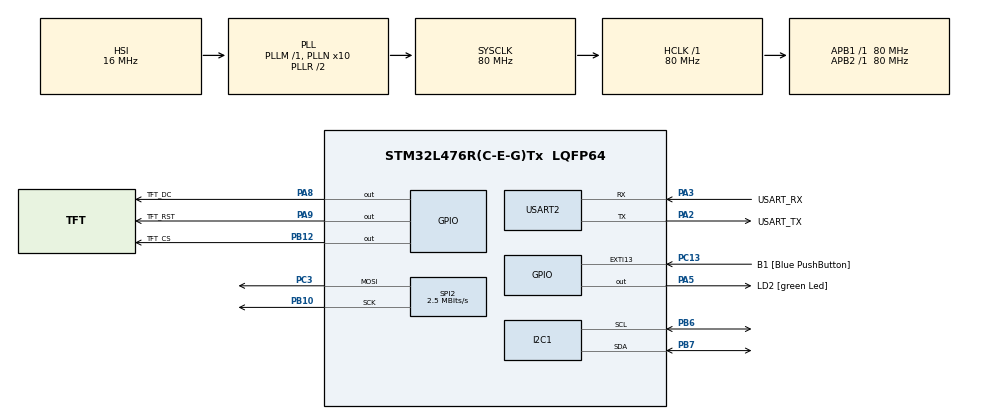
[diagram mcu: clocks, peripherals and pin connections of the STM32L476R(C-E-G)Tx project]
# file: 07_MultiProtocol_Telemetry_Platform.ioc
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Dma.Request0=USART2_RX
Dma.Request1=USART2_TX
Dma.USART2_RX.0.Direction=DMA_PERIPH_TO_MEMORY
Dma.USART2_RX.0.Instance=DMA1_Channel6
Dma.USART2_RX.0.MemDataAlignment=DMA_MDATAALIGN_BYTE
Dma.USART2_RX.0.MemInc=DMA_MINC_ENABLE
Dma.USART2_RX.0.Mode=DMA_NORMAL
Dma.USART2_RX.0.PeriphDataAlignment=DMA_PDATAALIGN_BYTE
Dma.USART2_RX.0.PeriphInc=DMA_PINC_DISABLE
Dma.USART2_RX.0.Priority=DMA_PRIORITY_LOW
Dma.USART2_TX.1.Direction=DMA_MEMORY_TO_PERIPH
Dma.USART2_TX.1.Instance=DMA1_Channel7
Dma.USART2_TX.1.MemDataAlignment=DMA_MDATAALIGN_BYTE
Dma.USART2_TX.1.MemInc=DMA_MINC_ENABLE
Dma.USART2_TX.1.Mode=DMA_NORMAL
Dma.USART2_TX.1.PeriphDataAlignment=DMA_PDATAALIGN_BYTE
Dma.USART2_TX.1.PeriphInc=DMA_PINC_DISABLE
Dma.USART2_TX.1.Priority=DMA_PRIORITY_LOW
I2C1.Timing=0x10D19CE4
Mcu.Family=STM32L4
Mcu.Name=STM32L476R(C-E-G)Tx
Mcu.Package=LQFP64
NVIC.DMA1_Channel6_IRQn=true\:0\:0\:false\:false\:true\:false\:true\:true
NVIC.DMA1_Channel7_IRQn=true\:0\:0\:false\:false\:true\:false\:true\:true
NVIC.PriorityGroup=NVIC_PRIORITYGROUP_4
NVIC.TIM6_DAC_IRQn=true\:0\:0\:false\:false\:true\:true\:true\:true
NVIC.USART2_IRQn=true\:0\:0\:false\:false\:true\:true\:true\:true
PA13\ (JTMS-SWDIO).GPIO_Label=TMS
PA13\ (JTMS-SWDIO).Mode=Serial_Wire
PA13\ (JTMS-SWDIO).Signal=SYS_JTMS-SWDIO
PA14\ (JTCK-SWCLK).GPIO_Label=TCK
PA14\ (JTCK-SWCLK).Mode=Serial_Wire
PA14\ (JTCK-SWCLK).Signal=SYS_JTCK-SWCLK
PA2.GPIO_Label=USART_TX
PA2.GPIO_Mode=GPIO_MODE_AF_PP
PA2.GPIO_PuPd=GPIO_NOPULL
PA2.GPIO_Speed=GPIO_SPEED_FREQ_VERY_HIGH
PA2.Mode=Asynchronous
PA2.Signal=USART2_TX
PA3.GPIO_Label=USART_RX
PA3.GPIO_Mode=GPIO_MODE_AF_PP
PA3.GPIO_PuPd=GPIO_NOPULL
PA3.GPIO_Speed=GPIO_SPEED_FREQ_VERY_HIGH
PA3.Mode=Asynchronous
PA3.Signal=USART2_RX
PA5.GPIO_Label=LD2 [green Led]
PA5.GPIO_ModeDefaultOutputPP=GPIO_MODE_OUTPUT_PP
PA5.GPIO_PuPd=GPIO_NOPULL
PA5.GPIO_Speed=GPIO_SPEED_FREQ_LOW
PA5.Signal=GPIO_Output
PA8.GPIO_Label=TFT_DC
PA8.GPIO_Speed=GPIO_SPEED_FREQ_VERY_HIGH
PA8.Signal=GPIO_Output
PA9.GPIO_Label=TFT_RST
PA9.GPIO_Speed=GPIO_SPEED_FREQ_VERY_HIGH
PA9.Signal=GPIO_Output
PB10.Mode=TX_Only_Simplex_Unidirect_Master
PB10.Signal=SPI2_SCK
PB12.GPIO_Label=TFT_CS
PB12.GPIO_Speed=GPIO_SPEED_FREQ_VERY_HIGH
PB12.Signal=GPIO_Output
PB3\ (JTDO-TRACESWO).GPIO_Label=SWO
PB3\ (JTDO-TRACESWO).Signal=SYS_JTDO-SWO
PB6.Mode=I2C
PB6.Signal=I2C1_SCL
PB7.Mode=I2C
PB7.Signal=I2C1_SDA
PC13.GPIO_Label=B1 [Blue PushButton]
PC13.GPIO_ModeDefaultEXTI=GPIO_MODE_IT_FALLING
PC13.GPIO_PuPd=GPIO_NOPULL
PC13.Signal=GPXTI13
PC14-OSC32_IN\ (PC14).Mode=LSE-External-Oscillator
PC14-OSC32_IN\ (PC14).Signal=RCC_OSC32_IN
PC15-OSC32_OUT\ (PC15).Mode=LSE-External-Oscillator
PC15-OSC32_OUT\ (PC15).Signal=RCC_OSC32_OUT
PC3.Mode=TX_Only_Simplex_Unidirect_Master
PC3.Signal=SPI2_MOSI
PH0-OSC_IN\ (PH0).Signal=RCC_OSC_IN
PH1-OSC_OUT\ (PH1).Signal=RCC_OSC_OUT
ProjectManager.HeapSize=0x200
ProjectManager.StackSize=0x400
ProjectManager.TargetToolchain=STM32CubeIDE
RCC.ADCFreq_Value=64000000
RCC.AHBFreq_Value=80000000
RCC.APB1Freq_Value=80000000
RCC.APB1TimFreq_Value=80000000
RCC.APB2Freq_Value=80000000
RCC.APB2TimFreq_Value=80000000
RCC.CortexFreq_Value=80000000
RCC.HCLKFreq_Value=80000000
RCC.HSE_VALUE=8000000
RCC.HSI_VALUE=16000000
RCC.MSI_VALUE=4000000
RCC.PLLN=10
RCC.PLLSourceVirtual=RCC_PLLSOURCE_HSI
RCC.PREFETCH_ENABLE=1
RCC.SYSCLKFreq_VALUE=80000000
RCC.SYSCLKSource=RCC_SYSCLKSOURCE_PLLCLK
RCC.USBFreq_Value=64000000
RCC.VCOOutputFreq_Value=160000000
SPI2.BaudRatePrescaler=SPI_BAUDRATEPRESCALER_32
SPI2.CalculateBaudRate=2.5 MBits/s
SPI2.Direction=SPI_DIRECTION_2LINES
SPI2.Mode=SPI_MODE_MASTER
SPI2.VirtualType=VM_MASTER
TIM6.Period=1000 - 1
TIM6.Prescaler=8000 - 1
USART2.VirtualMode-Asynchronous=VM_ASYNC
VP_TIM6_VS_ClockSourceINT.Mode=Enable_Timer
board=NUCLEO-L476RG

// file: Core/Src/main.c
/* USER CODE BEGIN Header */
/**
  ******************************************************************************
  * @file           : main.c
  * @brief          : Main program body
  ******************************************************************************
  * @attention
  *
  * Copyright (c) 2026 STMicroelectronics.
  * All rights reserved.
  *
  * This software is licensed under terms that can be found in the LICENSE file
  * in the root directory of this software component.
  * If no LICENSE file comes with this software, it is provided AS-IS.
  *
  ******************************************************************************
  */
/* USER CODE END Header */
#include "main.h"

/* USER CODE BEGIN Includes */
#include <stdio.h>
#include <string.h>
#include "st7735.h"
#include "fonts.h"
#include <math.h>
/* USER CODE END Includes */

/* USER CODE BEGIN PTD */
typedef struct {
	int16_t accel_raw[3];
	int16_t gyro_raw[3];

	float accel_g[3];	// Values in [g]
	float gyro_dps[3];	// Values in [degrees/s]

	float roll;			// Roll angle in degrees
	float pitch;		// Pitch angle in degrees
}IMU_Data_t;
/* USER CODE END PTD */

I2C_HandleTypeDef hi2c1;

SPI_HandleTypeDef hspi2;

TIM_HandleTypeDef htim6;

UART_HandleTypeDef huart2;
DMA_HandleTypeDef hdma_usart2_rx;
DMA_HandleTypeDef hdma_usart2_tx;

void SystemClock_Config(void);
static void MX_GPIO_Init(void);
static void MX_DMA_Init(void);
static void MX_I2C1_Init(void);
static void MX_USART2_UART_Init(void);
static void MX_TIM6_Init(void);
static void MX_SPI2_Init(void);

/* USER CODE BEGIN 0 */
volatile uint8_t read_sensor_flag = 0;

// Callback function which is sent every 100ms by stm32
void HAL_TIM_PeriodElapsedCallback(TIM_HandleTypeDef *htim)
{
	if (htim->Instance == TIM6)	// Make sure it's TIM6
	{
		read_sensor_flag = 1;	// Main loop needs to know about reading
	}
}
/* USER CODE END 0 */

int main(void)
{

  /* MCU Configuration--------------------------------------------------------*/

  /* Reset of all peripherals, Initializes the Flash interface and the Systick. */
  HAL_Init();

  /* Configure the system clock */
  SystemClock_Config();

  /* Initialize all configured peripherals */
  MX_GPIO_Init();
  MX_DMA_Init();
  MX_I2C1_Init();
  MX_USART2_UART_Init();
  MX_TIM6_Init();
  MX_SPI2_Init();
  /* USER CODE BEGIN 2 */
  char uart_buf[64];

  // Shifted 7-bit I2C address for MPU-9250 (0x68 << 1 = 0xD0)
  uint16_t MPU_ADDR = (0x68 << 1);

  uint8_t who_am_i_reg = 0;
  uint8_t wakeup_cmd = 0x00;

  snprintf(uart_buf, sizeof(uart_buf), "\r\n=== NexusCore Telemetry Boot ===\r\n");
  HAL_UART_Transmit(&huart2, (uint8_t*)uart_buf, strlen(uart_buf), 100);

  // 1. Hardware Self-Test: Read WHO_AM_I register (address 0x75)
  snprintf(uart_buf, sizeof(uart_buf), "Checking MPU-9250 Identity...\r\n");
  HAL_UART_Transmit(&huart2, (uint8_t*)uart_buf, strlen(uart_buf), 100);

  if (HAL_I2C_Mem_Read(&hi2c1, MPU_ADDR, 0x75, 1, &who_am_i_reg, 1, 100) == HAL_OK)
    {
        snprintf(uart_buf, sizeof(uart_buf), "[OK] WHO_AM_I responded with: 0x%02X\r\n", who_am_i_reg);
        HAL_UART_Transmit(&huart2, (uint8_t*)uart_buf, strlen(uart_buf), 100);

        // Typical MPU-9250 WHO_AM_I value is 0x71 (sometimes 0x73)
        if (who_am_i_reg == 0x71 || who_am_i_reg == 0x73 || who_am_i_reg == 0x70)
        {
            snprintf(uart_buf, sizeof(uart_buf), "Valid silicon detected. Waking up...\r\n");
            HAL_UART_Transmit(&huart2, (uint8_t*)uart_buf, strlen(uart_buf), 100);

            // 2. Clear sleep mode bit in PWR_MGMT_1 register (address 0x6B)
            if (HAL_I2C_Mem_Write(&hi2c1, MPU_ADDR, 0x6B, 1, &wakeup_cmd, 1, 100) == HAL_OK)
            {
                snprintf(uart_buf, sizeof(uart_buf), "[OK] MPU-9250 initialized successfully!\r\n\r\n");
                HAL_UART_Transmit(&huart2, (uint8_t*)uart_buf, strlen(uart_buf), 100);
            }
            else
            {
                snprintf(uart_buf, sizeof(uart_buf), "[ERR] I2C Write failed at 0x6B\r\n");
                HAL_UART_Transmit(&huart2, (uint8_t*)uart_buf, strlen(uart_buf), 100);
            }
        }
        else
        {
            snprintf(uart_buf, sizeof(uart_buf), "[WARN] Unknown Device ID!\r\n");
            HAL_UART_Transmit(&huart2, (uint8_t*)uart_buf, strlen(uart_buf), 100);
        }
    }
    else
    {
        snprintf(uart_buf, sizeof(uart_buf), "[ERR] I2C Read failed at 0x75. Check wiring!\r\n");
        HAL_UART_Transmit(&huart2, (uint8_t*)uart_buf, strlen(uart_buf), 100);
    }

  IMU_Data_t sensor_data;

  // Turn on TIM in interrupt mode
  HAL_TIM_Base_Start_IT(&htim6);

  // 1. Initialize the ST7735 display controller
  ST7735_Init();

  // 2. Fill the entire background with blue color
  ST7735_FillScreen(ST7735_BLUE);

  // 3. Write test text at coordinates (X: 10, Y: 10)
  ST7735_WriteString(10, 10, "Telemetry OK!", Font_11x18, ST7735_WHITE, ST7735_BLUE);

  // Start TIM6 in interrupt mode
  HAL_TIM_Base_Start_IT(&htim6);
  /* USER CODE END 2 */

  /* Infinite loop */
  /* USER CODE BEGIN WHILE */

  while (1)
  {
	  if (read_sensor_flag == 1)
	  {
		  read_sensor_flag = 0;	// Leave the flag and wait for the next 100ms

		  // 14 bytes (6 bytes Accel + 2 bytes Temp + 6 bytes Gyro)
		  uint8_t raw_data[14];

		  if (HAL_I2C_Mem_Read(&hi2c1, MPU_ADDR, 0x3B, 1, raw_data, 14, 100) == HAL_OK)
		  {
			  sensor_data.accel_raw[0] = (int16_t)((raw_data[0] << 8) | raw_data[1]);
			  sensor_data.accel_raw[1] = (int16_t)((raw_data[2] << 8) | raw_data[3]);
			  sensor_data.accel_raw[2] = (int16_t)((raw_data[4] << 8) | raw_data[5]);

			  sensor_data.gyro_raw[0] = (int16_t)((raw_data[8] << 8) | raw_data[9]);
			  sensor_data.gyro_raw[1] = (int16_t)((raw_data[10] << 8) | raw_data[11]);
			  sensor_data.gyro_raw[2] = (int16_t)((raw_data[12] << 8) | raw_data[13]);

			  // Edge computing: calculation on physical entities (g and °/s)
			  for (int i = 0; i < 3; i++)
			  {
				  sensor_data.accel_g[i] = sensor_data.accel_raw[i] / 16384.0f;
				  sensor_data.gyro_dps[i] = sensor_data.gyro_raw[i] / 131.0f;
			  }

			  // Sensor Fusion: Calculate Roll and Pitch using gravity vector
			  // 57.2957795f is the conversion factor from radians to degrees (180 / PI)
			  sensor_data.pitch = atan2f(sensor_data.accel_g[0], sqrtf(sensor_data.accel_g[1]*sensor_data.accel_g[1] + sensor_data.accel_g[2]*sensor_data.accel_g[2])) * 57.2957795f;
			  sensor_data.roll = atan2f(sensor_data.accel_g[1], sensor_data.accel_g[2]) * 57.2957795f;

			  // Display live data on TFT screen
			  char tft_buf[32];

			  snprintf(tft_buf, sizeof(tft_buf), "Pitch: %6.1f deg", sensor_data.pitch);
			  ST7735_WriteString(10, 50, tft_buf, Font_11x18, ST7735_WHITE, ST7735_BLUE);

			  snprintf(tft_buf, sizeof(tft_buf), "Roll:  %6.1f deg", sensor_data.roll);
			  ST7735_WriteString(10, 75, tft_buf, Font_11x18, ST7735_WHITE, ST7735_BLUE);

			  // Format minimal CSV payload for UART (Python integration later)
			  snprintf(uart_buf, sizeof(uart_buf), "%.2f,%.2f\r\n", sensor_data.roll, sensor_data.pitch);
			  HAL_UART_Transmit_DMA(&huart2, (uint8_t*)uart_buf, strlen(uart_buf));

			  HAL_UART_Transmit_DMA(&huart2, (uint8_t*)uart_buf, strlen(uart_buf));
		  }
		  else
		  {
			  snprintf(uart_buf, sizeof(uart_buf), "[ERR] IMU Read Failed!\r\n");
			  HAL_UART_Transmit_DMA(&huart2, (uint8_t*)uart_buf, strlen(uart_buf));
		  }
	  }

    /* USER CODE END WHILE */

  }
}

void SystemClock_Config(void)
{
  RCC_OscInitTypeDef RCC_OscInitStruct = {0};
  RCC_ClkInitTypeDef RCC_ClkInitStruct = {0};

  /** Configure the main internal regulator output voltage
  */
  if (HAL_PWREx_ControlVoltageScaling(PWR_REGULATOR_VOLTAGE_SCALE1) != HAL_OK)
  {
    Error_Handler();
  }

  /** Initializes the RCC Oscillators according to the specified parameters
  * in the RCC_OscInitTypeDef structure.
  */
  RCC_OscInitStruct.OscillatorType = RCC_OSCILLATORTYPE_HSI;
  RCC_OscInitStruct.HSIState = RCC_HSI_ON;
  RCC_OscInitStruct.HSICalibrationValue = RCC_HSICALIBRATION_DEFAULT;
  RCC_OscInitStruct.PLL.PLLState = RCC_PLL_ON;
  RCC_OscInitStruct.PLL.PLLSource = RCC_PLLSOURCE_HSI;
  RCC_OscInitStruct.PLL.PLLM = 1;
  RCC_OscInitStruct.PLL.PLLN = 10;
  RCC_OscInitStruct.PLL.PLLP = RCC_PLLP_DIV7;
  RCC_OscInitStruct.PLL.PLLQ = RCC_PLLQ_DIV2;
  RCC_OscInitStruct.PLL.PLLR = RCC_PLLR_DIV2;
  if (HAL_RCC_OscConfig(&RCC_OscInitStruct) != HAL_OK)
  {
    Error_Handler();
  }

  /** Initializes the CPU, AHB and APB buses clocks
  */
  RCC_ClkInitStruct.ClockType = RCC_CLOCKTYPE_HCLK|RCC_CLOCKTYPE_SYSCLK
                              |RCC_CLOCKTYPE_PCLK1|RCC_CLOCKTYPE_PCLK2;
  RCC_ClkInitStruct.SYSCLKSource = RCC_SYSCLKSOURCE_PLLCLK;
  RCC_ClkInitStruct.AHBCLKDivider = RCC_SYSCLK_DIV1;
  RCC_ClkInitStruct.APB1CLKDivider = RCC_HCLK_DIV1;
  RCC_ClkInitStruct.APB2CLKDivider = RCC_HCLK_DIV1;

  if (HAL_RCC_ClockConfig(&RCC_ClkInitStruct, FLASH_LATENCY_4) != HAL_OK)
  {
    Error_Handler();
  }
}

static void MX_I2C1_Init(void)
{

  hi2c1.Instance = I2C1;
  hi2c1.Init.Timing = 0x10D19CE4;
  hi2c1.Init.OwnAddress1 = 0;
  hi2c1.Init.AddressingMode = I2C_ADDRESSINGMODE_7BIT;
  hi2c1.Init.DualAddressMode = I2C_DUALADDRESS_DISABLE;
  hi2c1.Init.OwnAddress2 = 0;
  hi2c1.Init.OwnAddress2Masks = I2C_OA2_NOMASK;
  hi2c1.Init.GeneralCallMode = I2C_GENERALCALL_DISABLE;
  hi2c1.Init.NoStretchMode = I2C_NOSTRETCH_DISABLE;
  if (HAL_I2C_Init(&hi2c1) != HAL_OK)
  {
    Error_Handler();
  }

  /** Configure Analogue filter
  */
  if (HAL_I2CEx_ConfigAnalogFilter(&hi2c1, I2C_ANALOGFILTER_ENABLE) != HAL_OK)
  {
    Error_Handler();
  }

  /** Configure Digital filter
  */
  if (HAL_I2CEx_ConfigDigitalFilter(&hi2c1, 0) != HAL_OK)
  {
    Error_Handler();
  }

}

static void MX_SPI2_Init(void)
{

  /* SPI2 parameter configuration*/
  hspi2.Instance = SPI2;
  hspi2.Init.Mode = SPI_MODE_MASTER;
  hspi2.Init.Direction = SPI_DIRECTION_2LINES;
  hspi2.Init.DataSize = SPI_DATASIZE_4BIT;
  hspi2.Init.CLKPolarity = SPI_POLARITY_LOW;
  hspi2.Init.CLKPhase = SPI_PHASE_1EDGE;
  hspi2.Init.NSS = SPI_NSS_SOFT;
  hspi2.Init.BaudRatePrescaler = SPI_BAUDRATEPRESCALER_32;
  hspi2.Init.FirstBit = SPI_FIRSTBIT_MSB;
  hspi2.Init.TIMode = SPI_TIMODE_DISABLE;
  hspi2.Init.CRCCalculation = SPI_CRCCALCULATION_DISABLE;
  hspi2.Init.CRCPolynomial = 7;
  hspi2.Init.CRCLength = SPI_CRC_LENGTH_DATASIZE;
  hspi2.Init.NSSPMode = SPI_NSS_PULSE_ENABLE;
  if (HAL_SPI_Init(&hspi2) != HAL_OK)
  {
    Error_Handler();
  }

}

static void MX_TIM6_Init(void)
{

  TIM_MasterConfigTypeDef sMasterConfig = {0};

  htim6.Instance = TIM6;
  htim6.Init.Prescaler = 8000 - 1;
  htim6.Init.CounterMode = TIM_COUNTERMODE_UP;
  htim6.Init.Period = 1000 - 1;
  htim6.Init.AutoReloadPreload = TIM_AUTORELOAD_PRELOAD_DISABLE;
  if (HAL_TIM_Base_Init(&htim6) != HAL_OK)
  {
    Error_Handler();
  }
  sMasterConfig.MasterOutputTrigger = TIM_TRGO_RESET;
  sMasterConfig.MasterSlaveMode = TIM_MASTERSLAVEMODE_DISABLE;
  if (HAL_TIMEx_MasterConfigSynchronization(&htim6, &sMasterConfig) != HAL_OK)
  {
    Error_Handler();
  }

}

static void MX_USART2_UART_Init(void)
{

  huart2.Instance = USART2;
  huart2.Init.BaudRate = 115200;
  huart2.Init.WordLength = UART_WORDLENGTH_8B;
  huart2.Init.StopBits = UART_STOPBITS_1;
  huart2.Init.Parity = UART_PARITY_NONE;
  huart2.Init.Mode = UART_MODE_TX_RX;
  huart2.Init.HwFlowCtl = UART_HWCONTROL_NONE;
  huart2.Init.OverSampling = UART_OVERSAMPLING_16;
  huart2.Init.OneBitSampling = UART_ONE_BIT_SAMPLE_DISABLE;
  huart2.AdvancedInit.AdvFeatureInit = UART_ADVFEATURE_NO_INIT;
  if (HAL_UART_Init(&huart2) != HAL_OK)
  {
    Error_Handler();
  }

}

static void MX_DMA_Init(void)
{

  /* DMA controller clock enable */
  __HAL_RCC_DMA1_CLK_ENABLE();

  /* DMA interrupt init */
  /* DMA1_Channel6_IRQn interrupt configuration */
  HAL_NVIC_SetPriority(DMA1_Channel6_IRQn, 0, 0);
  HAL_NVIC_EnableIRQ(DMA1_Channel6_IRQn);
  /* DMA1_Channel7_IRQn interrupt configuration */
  HAL_NVIC_SetPriority(DMA1_Channel7_IRQn, 0, 0);
  HAL_NVIC_EnableIRQ(DMA1_Channel7_IRQn);

}

static void MX_GPIO_Init(void)
{
  GPIO_InitTypeDef GPIO_InitStruct = {0};

  /* GPIO Ports Clock Enable */
  __HAL_RCC_GPIOC_CLK_ENABLE();
  __HAL_RCC_GPIOH_CLK_ENABLE();
  __HAL_RCC_GPIOA_CLK_ENABLE();
  __HAL_RCC_GPIOB_CLK_ENABLE();

  /*Configure GPIO pin Output Level */
  HAL_GPIO_WritePin(GPIOA, LD2_Pin|TFT_DC_Pin|TFT_RST_Pin, GPIO_PIN_RESET);

  /*Configure GPIO pin Output Level */
  HAL_GPIO_WritePin(TFT_CS_GPIO_Port, TFT_CS_Pin, GPIO_PIN_RESET);

  /*Configure GPIO pin : B1_Pin */
  GPIO_InitStruct.Pin = B1_Pin;
  GPIO_InitStruct.Mode = GPIO_MODE_IT_FALLING;
  GPIO_InitStruct.Pull = GPIO_NOPULL;
  HAL_GPIO_Init(B1_GPIO_Port, &GPIO_InitStruct);

  /*Configure GPIO pin : LD2_Pin */
  GPIO_InitStruct.Pin = LD2_Pin;
  GPIO_InitStruct.Mode = GPIO_MODE_OUTPUT_PP;
  GPIO_InitStruct.Pull = GPIO_NOPULL;
  GPIO_InitStruct.Speed = GPIO_SPEED_FREQ_LOW;
  HAL_GPIO_Init(LD2_GPIO_Port, &GPIO_InitStruct);

  /*Configure GPIO pin : TFT_CS_Pin */
  GPIO_InitStruct.Pin = TFT_CS_Pin;
  GPIO_InitStruct.Mode = GPIO_MODE_OUTPUT_PP;
  GPIO_InitStruct.Pull = GPIO_NOPULL;
  GPIO_InitStruct.Speed = GPIO_SPEED_FREQ_VERY_HIGH;
  HAL_GPIO_Init(TFT_CS_GPIO_Port, &GPIO_InitStruct);

  /*Configure GPIO pins : TFT_DC_Pin TFT_RST_Pin */
  GPIO_InitStruct.Pin = TFT_DC_Pin|TFT_RST_Pin;
  GPIO_InitStruct.Mode = GPIO_MODE_OUTPUT_PP;
  GPIO_InitStruct.Pull = GPIO_NOPULL;
  GPIO_InitStruct.Speed = GPIO_SPEED_FREQ_VERY_HIGH;
  HAL_GPIO_Init(GPIOA, &GPIO_InitStruct);

}

void Error_Handler(void)
{
  __disable_irq();
  while (1)
  {
  }
}
